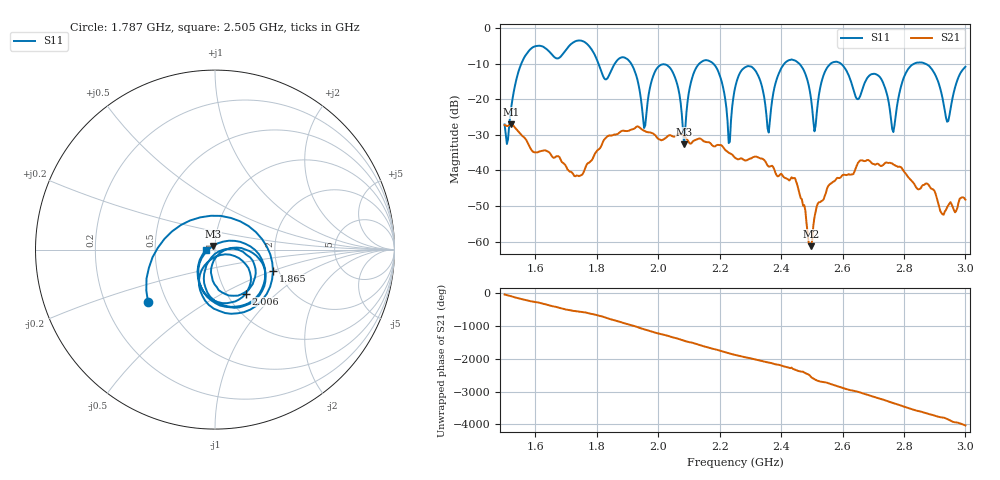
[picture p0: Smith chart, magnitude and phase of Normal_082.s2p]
# HZ S RI R 50
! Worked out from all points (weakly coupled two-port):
!   404 points, 1.5 GHz to 3 GHz, reference 50 ohm
!   highest |S21| = -27.02 dB at 1.522 GHz (marker M1); lowest = -61.3 dB at 2.498 GHz (marker M2)
!   lowest |S11| = -32.7 dB at 2.084 GHz (marker M3), VSWR 1.05, Z = 48.8 + j1.97 ohm
!   |S11| at or under -10 dB: 1.912 GHz to 2.134 GHz (222 MHz wide, 11 % of centre); 2.179 GHz to 2.411 GHz (231.6 MHz wide, 10.1 % of centre); 2.594 GHz to 2.834 GHz (239.2 MHz wide, 8.81 % of centre) (the widest 3 of 7)
!   S12 and S22 are empty: the file has one direction only
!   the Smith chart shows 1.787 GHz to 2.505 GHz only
!   S11 on the Smith chart (normalised r, x): 1.787 GHz: 0.39, -0.30; 1.865 GHz: 1.87, -0.51; 2.006 GHz: 1.22, -0.66; 2.505 GHz: 0.91, +0.00
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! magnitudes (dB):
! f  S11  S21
! 1.5 GHz  -27.1  -27.3
! 1.522 GHz  -21.8  -27.0
! 1.753 GHz  -3.6  -41.2
! 1.787 GHz  -6.5  -36.7
! 1.865 GHz  -9.3  -29.9
! 1.954 GHz  -28.1  -28.8
! 2.002 GHz  -10.7  -31.3
! 2.006 GHz  -10.5  -31.4
! 2.084 GHz  -32.7  -30.3
! 2.14 GHz  -9.6  -31.2
! 2.23 GHz  -32.3  -35.0
! 2.252 GHz  -16.2  -36.6
! 2.36 GHz  -29.4  -38.9
! 2.442 GHz  -9.0  -42.2
! 2.498 GHz  -19.9  -61.3
! 2.501 GHz  -22.6  -59.7
! 2.505 GHz  -26.1  -55.5
! 2.576 GHz  -9.5  -42.9
! 2.751 GHz  -21.0  -37.9
! 2.859 GHz  -9.7  -44.4
! 2.944 GHz  -26.2  -49.8
! 3 GHz  -10.9  -48.2
